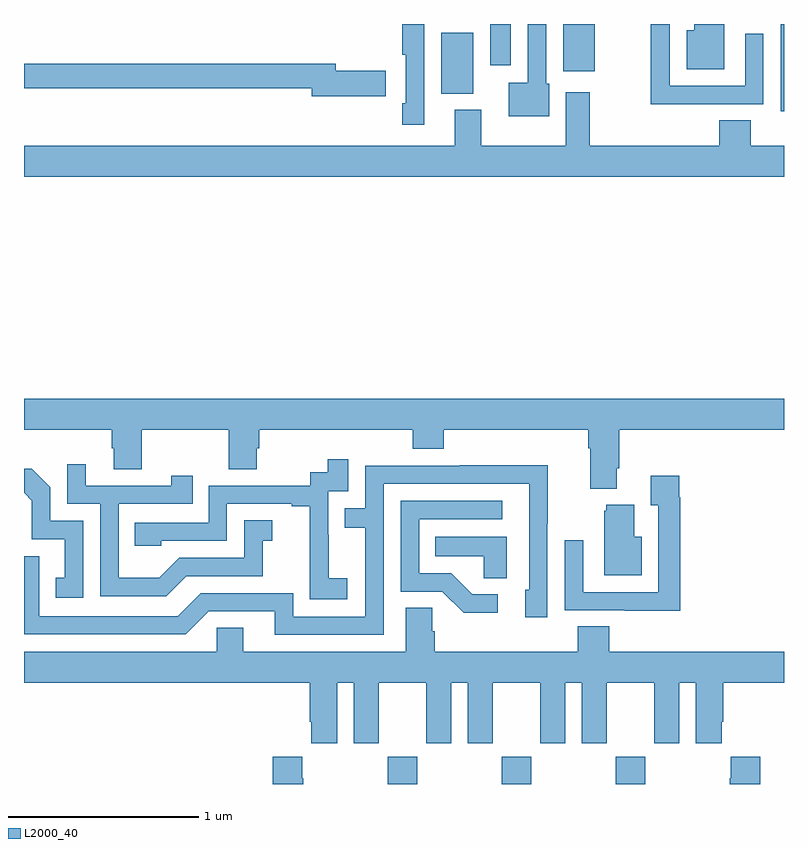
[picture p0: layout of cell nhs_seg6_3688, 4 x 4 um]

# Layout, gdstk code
import gdstk
lib = gdstk.Library(unit=1e-6, precision=1e-09)
def R(c, l, rs):  # rectangles x0, y0, x1, y1
    for r in rs: c.add(gdstk.rectangle(r[:2], r[2:], *l))
def A(c, l, x, y, w, h, nx, ny, dx, dy):  # array of equal rectangles
    R(c, l, [(x+i*dx, y+j*dy, x+i*dx+w, y+j*dy+h) for i in range(nx) for j in range(ny)])
def P(c, l, *ps):  # polygons
    for p in ps: c.add(gdstk.Polygon(p, *l))
L2000_40 = (2000, 40)

nhs_seg6_3688 = lib.new_cell('nhs_seg6_3688')
A(nhs_seg6_3688, L2000_40, 328.915, 917.5, 0.155, 0.144, 3, 1, 0.6, 0)
R(nhs_seg6_3688, L2000_40, [(330.984,921.042,331,921.5), (329.195,921.134,329.365,921.454), (329.837,921.251,330.004,921.5), (329.453,921.282,329.563,921.5)])
P(nhs_seg6_3688, L2000_40, [(329.106,921.5),(328.99,921.5),(328.99,921.337),(329.01,921.337),(329.01,921.082),(328.99,921.082),(328.99,920.97),(329.106,920.97)],
  [(330.575,921.078),(330.891,921.078),(330.891,921.448),(330.795,921.448),(330.795,921.174),(330.399,921.174),(330.399,921.5),(330.298,921.5),(330.298,921.077),(330.575,921.077)],
  [(330.685,921.5),(330.527,921.5),(330.527,921.466),(330.488,921.466),(330.488,921.263),(330.685,921.263)],
  [(329.764,921.186),(329.748,921.186),(329.748,921.5),(329.652,921.5),(329.652,921.19),(329.552,921.19),(329.552,921.014),(329.764,921.014)],
  [(328.903,921.254),(328.642,921.254),(328.642,921.29),(327,921.29),(327,921.162),(328.514,921.162),(328.514,921.119),(328.903,921.119)],
  [(331,920.86),(330.824,920.86),(330.824,920.993),(330.659,920.993),(330.659,920.86),(329.978,920.86),(329.978,921.142),(329.852,921.142),(329.852,920.86),(329.407,920.86),(329.407,921.049),(329.267,921.049),(329.267,920.86),(327,920.86),(327,920.696),(331,920.696)],
  [(330.121,919.162),(330.134,919.162),(330.134,919.364),(331,919.364),(331,919.528),(327,919.528),(327,919.364),(327.461,919.364),(327.461,919.266),(327.473,919.266),(327.473,919.156),(327.621,919.156),(327.621,919.364),(328.078,919.364),(328.078,919.156),(328.225,919.156),(328.225,919.266),(328.238,919.266),(328.238,919.364),(329.045,919.364),(329.045,919.265),(329.21,919.265),(329.21,919.364),(329.969,919.364),(329.969,919.268),(329.981,919.268),(329.981,919.055),(330.121,919.055)],
  [(328.702,918.583),(328.604,918.583),(328.604,918.812),(328.602,918.812),(328.602,919.041),(328.707,919.041),(328.707,919.21),(328.599,919.21),(328.599,919.14),(328.506,919.14),(328.506,919.071),(327.972,919.071),(327.972,918.876),(327.583,918.876),(327.583,918.753),(327.723,918.753),(327.723,918.78),(328.068,918.78),(328.068,918.975),(328.409,918.975),(328.409,918.963),(328.505,918.963),(328.505,918.679),(328.504,918.679),(328.504,918.473),(328.702,918.473)],
  [(327.853,918.594),(328.257,918.594),(328.257,918.779),(328.306,918.779),(328.306,918.889),(328.158,918.889),(328.158,918.69),(327.816,918.69),(327.712,918.586),(327.498,918.586),(327.498,918.975),(327.887,918.975),(327.887,919.123),(327.776,919.123),(327.776,919.071),(327.325,919.071),(327.325,919.183),(327.228,919.183),(327.228,918.975),(327.402,918.975),(327.402,918.489),(327.748,918.489)],
  [(328.893,919.08),(329.658,919.08),(329.658,918.522),(329.639,918.522),(329.639,918.378),(329.754,918.378),(329.754,918.871),(329.757,918.871),(329.757,919.178),(329.293,919.178),(329.293,919.176),(328.797,919.176),(328.797,918.951),(328.687,918.951),(328.687,918.85),(328.797,918.85),(328.797,918.381),(328.416,918.381),(328.416,918.504),(327.93,918.504),(327.81,918.384),(327.081,918.384),(327.081,918.699),(327,918.699),(327,918.288),(327.852,918.288),(327.972,918.408),(328.319,918.408),(328.319,918.285),(328.893,918.285)],
  [(327.312,918.885),(327.138,918.885),(327.138,919.062),(327.04,919.16),(327,919.16),(327,919.032),(327.042,918.99),(327.042,918.789),(327.215,918.789),(327.215,918.585),(327.166,918.585),(327.166,918.48),(327.312,918.48)],
  [(330.455,919.01),(330.448,919.01),(330.448,919.123),(330.299,919.123),(330.299,918.967),(330.339,918.967),(330.339,918.51),(329.943,918.51),(329.943,918.784),(329.847,918.784),(329.847,918.414),(330.163,918.414),(330.163,918.413),(330.455,918.413)],
  [(329.494,918.498),(329.359,918.498),(329.248,918.609),(329.079,918.609),(329.079,918.894),(329.518,918.894),(329.518,918.99),(328.983,918.99),(328.983,918.513),(329.202,918.513),(329.315,918.401),(329.494,918.401)],
  [(330.25,918.802),(330.211,918.802),(330.211,918.97),(330.065,918.97),(330.065,918.939),(330.053,918.939),(330.053,918.599),(330.25,918.599)],
  [(329.542,918.802),(329.164,918.802),(329.164,918.698),(329.421,918.698),(329.421,918.583),(329.542,918.583)],
  [(328.648,918.032),(328.736,918.032),(328.736,917.715),(328.867,917.715),(328.867,918.032),(329.117,918.032),(329.117,917.715),(329.248,917.715),(329.248,918.032),(329.336,918.032),(329.336,917.715),(329.467,917.715),(329.467,918.032),(329.717,918.032),(329.717,917.715),(329.848,917.715),(329.848,918.032),(329.936,918.032),(329.936,917.715),(330.067,917.715),(330.067,918.032),(330.317,918.032),(330.317,917.715),(330.448,917.715),(330.448,918.032),(330.536,918.032),(330.536,917.715),(330.673,917.715),(330.673,917.827),(330.68,917.827),(330.68,918.032),(331,918.032),(331,918.196),(330.08,918.196),(330.08,918.329),(329.915,918.329),(329.915,918.196),(329.162,918.196),(329.162,918.305),(329.148,918.305),(329.148,918.428),(329.009,918.428),(329.009,918.196),(328.153,918.196),(328.153,918.323),(328.014,918.323),(328.014,918.196),(327,918.196),(327,918.032),(328.505,918.032),(328.505,917.827),(328.511,917.827),(328.511,917.715),(328.648,917.715)],
  [(330.875,917.644),(330.719,917.644),(330.719,917.531),(330.715,917.531),(330.715,917.5),(330.875,917.5)],
  [(328.47,917.531),(328.465,917.531),(328.465,917.644),(328.31,917.644),(328.31,917.5),(328.47,917.5)])

lib.write_gds('nhs_seg6_3688.gds')
